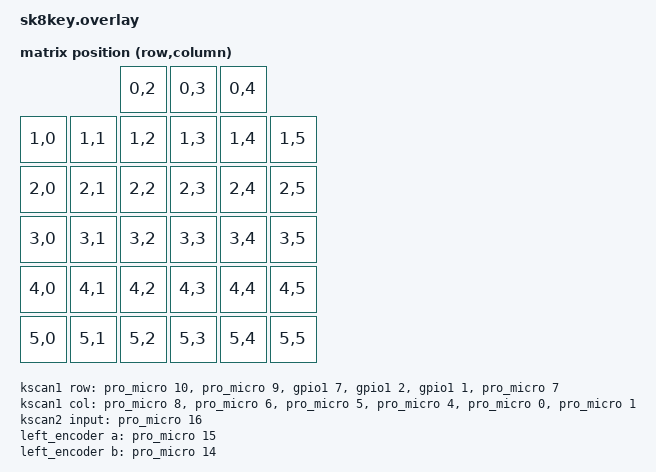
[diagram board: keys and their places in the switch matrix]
#include <dt-bindings/zmk/matrix_transform.h>
#include <dt-bindings/led/led.h>

/ {
    chosen {
        zmk,kscan = &kscan0;
        zmk,matrix_transform = &default_transform;
        zmk,underglow = &led_strip;

    };

    default_transform: keymap_transform_0 {
        compatible = "zmk,matrix-transform";
        columns = <6>;
        rows = <6>;

        map = <
                            RC(0,2) RC(0,3) RC(0,4)
            RC(1,0) RC(1,1) RC(1,2) RC(1,3) RC(1,4) RC(1,5)
            RC(2,0) RC(2,1) RC(2,2) RC(2,3) RC(2,4) RC(2,5)
            RC(3,0) RC(3,1) RC(3,2) RC(3,3) RC(3,4) RC(3,5)
            RC(4,0) RC(4,1) RC(4,2) RC(4,3) RC(4,4) RC(4,5)
            RC(5,0) RC(5,1) RC(5,2) RC(5,3) RC(5,4) RC(5,5)
        >;
    };



    kscan0: kscan_composite {
        compatible = "zmk,kscan-composite";
        rows = <7>;
        columns = <6>;

        matrix {
            kscan = <&kscan1>;
        };

        direct {
            kscan = <&kscan2>;
            row-offset = <6>;
        };
    };

    kscan1: kscan_matrix {
        compatible = "zmk,kscan-gpio-matrix";
        diode-direction = "col2row";  // Change to "row2col" if needed

        col-gpios
            = <&pro_micro 8 GPIO_ACTIVE_HIGH>  // Mod → P104
            , <&pro_micro 6 GPIO_ACTIVE_HIGH>   // Inner → P100
            , <&pro_micro 5 GPIO_ACTIVE_HIGH>   // Index → P024
            , <&pro_micro 4 GPIO_ACTIVE_HIGH>   // Middle → P022
            , <&pro_micro 0 GPIO_ACTIVE_HIGH>   // Ring → P008
            , <&pro_micro 1 GPIO_ACTIVE_HIGH>;   // Pinky → P006

        row-gpios
            = <&pro_micro 10 (GPIO_ACTIVE_HIGH | GPIO_PULL_DOWN)>   // Row 0 → ️ Mouse Cluster (P009)
            , <&pro_micro 9 (GPIO_ACTIVE_HIGH | GPIO_PULL_DOWN)>   // Row 1 → Num (P106)
            , <&gpio1 7 (GPIO_ACTIVE_HIGH | GPIO_PULL_DOWN)>      // Row 2 → Top (P107)
            , <&gpio1 2 (GPIO_ACTIVE_HIGH | GPIO_PULL_DOWN)>      // Row 3 → Home (P102)
            , <&gpio1 1 (GPIO_ACTIVE_HIGH | GPIO_PULL_DOWN)>      // Row 4 → Bottom (P101)
            , <&pro_micro 7 (GPIO_ACTIVE_HIGH | GPIO_PULL_DOWN)>;  // Row 5 → Mod (P011)
    };

    kscan2: kscan_direct {
        compatible = "zmk,kscan-gpio-direct";
          wakeup-source;
           input-gpios
               = <&pro_micro 16 (GPIO_ACTIVE_LOW | GPIO_PULL_UP)>
               ;
    };

    left_encoder: encoder_left {
        compatible = "alps,ec11";
        a-gpios = <&pro_micro 15 (GPIO_ACTIVE_HIGH | GPIO_PULL_UP)>;
        b-gpios = <&pro_micro 14 (GPIO_ACTIVE_HIGH | GPIO_PULL_UP)>;
        steps = <80>;
        status = "enabled";
    };
};

&pinctrl {
    spi3_default: spi3_default {
        group1 {
            psels = <NRF_PSEL(SPIM_MOSI, 0, 31)>;
        };
    };

    spi3_sleep: spi3_sleep {
        group1 {
            psels = <NRF_PSEL(SPIM_MOSI, 0, 31)>;
            low-power-enable;
        };
    };
};

&spi3 {
    compatible = "nordic,nrf-spim";
    status = "okay";

    pinctrl-0 = <&spi3_default>;
    pinctrl-1 = <&spi3_sleep>;
    pinctrl-names = "default", "sleep";

    led_strip: ws2812@0 {
        compatible = "worldsemi,ws2812-spi";

        /* SPI */
        reg = <0>; /* ignored, but necessary for SPI bindings */
        spi-max-frequency = <4000000>;

        /* WS2812 */
        chain-length = <32>; /* number of LEDs */
        spi-one-frame = <0x70>;
        spi-zero-frame = <0x40>;
        color-mapping = <LED_COLOR_ID_GREEN LED_COLOR_ID_RED LED_COLOR_ID_BLUE>;
    };
};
